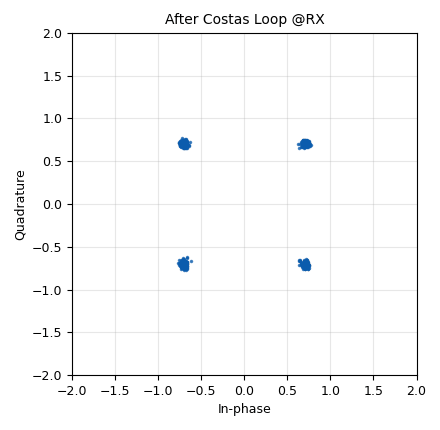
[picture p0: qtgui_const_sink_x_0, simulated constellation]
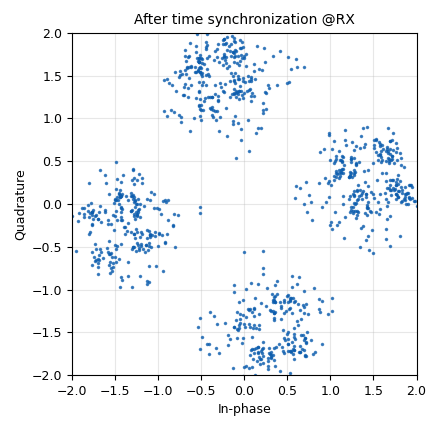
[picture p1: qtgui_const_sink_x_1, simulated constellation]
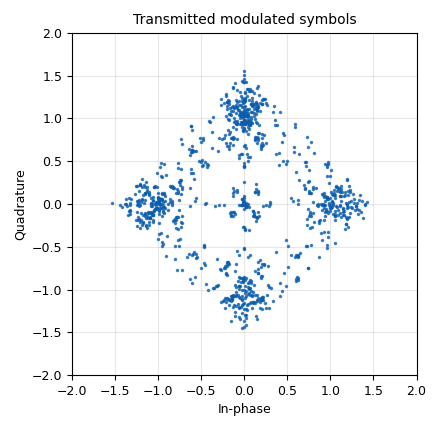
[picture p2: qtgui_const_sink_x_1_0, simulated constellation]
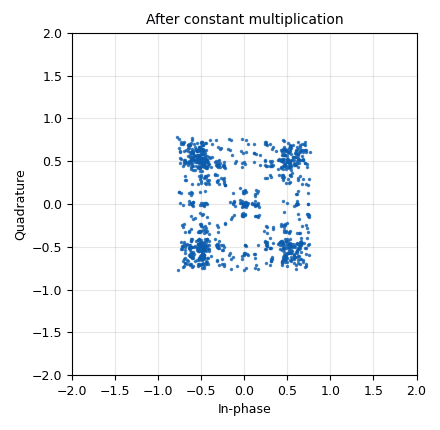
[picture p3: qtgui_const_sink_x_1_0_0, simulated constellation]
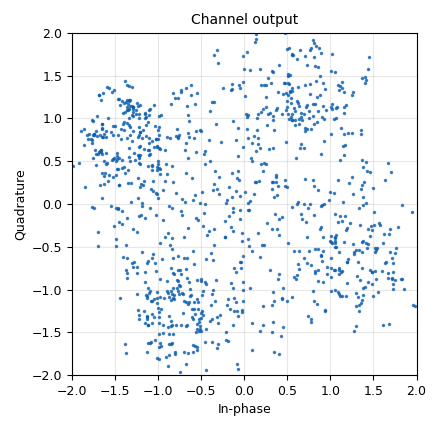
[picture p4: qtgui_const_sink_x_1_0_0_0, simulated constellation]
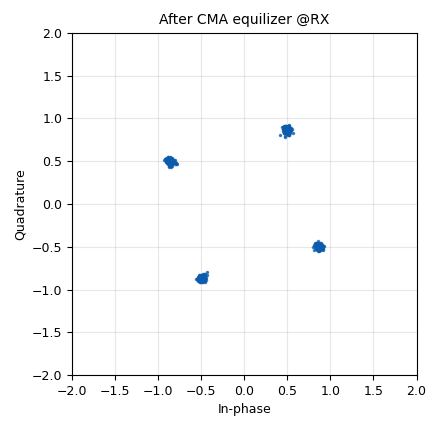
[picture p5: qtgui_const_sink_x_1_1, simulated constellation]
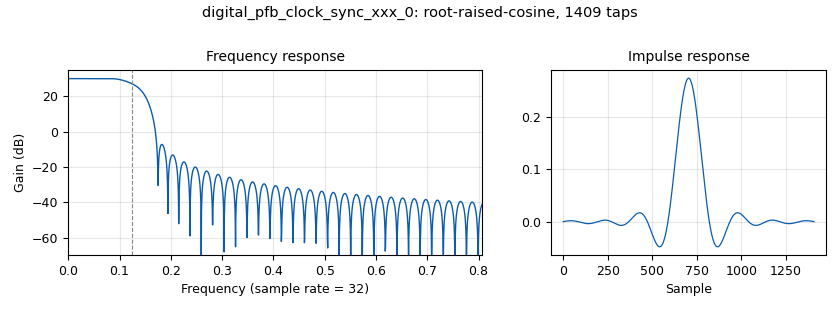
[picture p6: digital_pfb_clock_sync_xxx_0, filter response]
<?xml version='1.0' encoding='utf-8'?>
<?grc format='1' created='3.7.10'?>
<flow_graph>
<block>
<key>options</key>
<param><key>id</key><value>top_block</value></param>
<param><key>author</key><value>Alexandros-Apostolos A. Boulogeorgos</value></param>
<param><key>generate_options</key><value>qt_gui</value></param>
</block>
<block>
<key>variable</key>
<param><key>id</key><value>arity</value></param>
<param><key>value</key><value>4</value></param>
</block>
<block>
<key>variable_qtgui_range</key>
<param><key>id</key><value>eq_gain</value></param>
<param><key>value</key><value>0.01</value></param>
<param><key>gui_hint</key><value>1,0,1,1</value></param>
<param><key>label</key><value>Equalizer: rate</value></param>
<param><key>orient</key><value>Qt.Horizontal</value></param>
<param><key>start</key><value>0.0</value></param>
<param><key>step</key><value>0.001</value></param>
<param><key>stop</key><value>0.1</value></param>
<param><key>widget</key><value>slider</value></param>
</block>
<block>
<key>variable</key>
<param><key>id</key><value>model</value></param>
<param><key>value</key><value>2</value></param>
</block>
<block>
<key>variable</key>
<param><key>id</key><value>nfilts</value></param>
<param><key>value</key><value>32</value></param>
</block>
<block>
<key>variable_qtgui_range</key>
<param><key>id</key><value>noise_volt</value></param>
<param><key>value</key><value>0.0001</value></param>
<param><key>gui_hint</key><value>0,0,1,1</value></param>
<param><key>label</key><value>Channel: Noise Voltage</value></param>
<param><key>orient</key><value>Qt.Horizontal</value></param>
<param><key>start</key><value>0</value></param>
<param><key>step</key><value>0.01</value></param>
<param><key>stop</key><value>1</value></param>
<param><key>widget</key><value>slider</value></param>
</block>
<block>
<key>variable</key>
<param><key>id</key><value>number_of_samples</value></param>
<param><key>value</key><value>1000</value></param>
</block>
<block>
<key>variable</key>
<param><key>id</key><value>pdp_mags</value></param>
<param><key>value</key><value>[pdp_mags_ca0, pdp_mags_umts_ped_a, pdp_mags_umts_ped_b][model]</value></param>
</block>
<block>
<key>variable</key>
<param><key>id</key><value>pdp_mags_ca0</value></param>
<param><key>value</key><value>[0.16529889, 0.46954084, 0.58274825, 0.24561255, 0.50459457, 0.69767633, 1.0, 0.77724474, 0.48675226, 0.46954084, 0.21267289, 0.19090106, 0.31600413, 0.45293801, 0.8057353, 0.64920938, 0.50459457, 0.1978987, 0.35204369, 0.54226525, 0.31600413, 0.15945397, 0.2204686, 0.35204369, 0.37832563, 0.37832563, 0.36494815, 0.2204686, 0.17763933, 0.45293801, 0.52309091, 0.52309091, 0.46954084, 0.35204369, 0.40656966, 0.25461568, 0.23692776, 0.32758753, 0.1978987, 0.21267289, 0.2204686, 0.19090106, 0.24561255, 0.17135806, 0.21267289, 0.16529889, 0.2204686, 0.30483032, 0.33959553, 0.18415085, 0.18415085, 0.22855006, 0.2940516, 0.19090106, 0.17135806, 0.18415085, 0.1978987, 0.17763933, 0.15945397, 0.26394884, 0.24561255, 0.21267289, 0.19090106, 0.17763933, 0.2204686, 0.21267289, 0.17135806, 0.17135806, 0.16529889]</value></param>
</block>
<block>
<key>variable</key>
<param><key>id</key><value>pdp_mags_umts_ped_a</value></param>
<param><key>value</key><value>[1, 0.3790830381, 0.1466069621, 0.1022842067]</value></param>
</block>
<block>
<key>variable</key>
<param><key>id</key><value>pdp_mags_umts_ped_b</value></param>
<param><key>value</key><value>[1, 0.9139311853, 0.6126263942, 0.4493289641, 0.4584060113, 0.0916296839]</value></param>
</block>
<block>
<key>variable</key>
<param><key>id</key><value>pdp_times</value></param>
<param><key>value</key><value>[pdp_times_ca0, pdp_times_umts_ped_a, pdp_times_umts_ped_b][model]</value></param>
</block>
<block>
<key>variable</key>
<param><key>id</key><value>pdp_times_ca0</value></param>
<param><key>value</key><value>[-0.25, -0.125, 0.0, 0.125, 0.25, 0.375, 0.5, 0.625, 0.75, 0.875, 1.0, 1.125, 1.25, 1.5, 1.625, 1.75, 1.875, 2.0, 2.125, 2.25, 2.375, 2.5, 2.75, 2.875, 3.0, 3.125, 3.25, 3.375, 3.5, 3.625, 3.75, 3.875, 4.0, 4.125, 4.25, 4.375, 4.5, 4.625, 4.75, 5.125, 5.25, 5.5, 5.625, 5.75, 6.0, 6.375, 6.5, 6.625, 6.75, 6.875, 7.25, 8.0, 8.125, 8.5, 8.625, 8.75, 8.875, 9.125, 9.25, 9.375, 9.5, 9.875, 10.0, 10.75, 10.875, 11.0, 11.125, 13.125, 13.25]</value></param>
</block>
<block>
<key>variable</key>
<param><key>id</key><value>pdp_times_umts_ped_a</value></param>
<param><key>value</key><value>[0, 0.8448, 1.4592, 3.1488]</value></param>
</block>
<block>
<key>variable</key>
<param><key>id</key><value>pdp_times_umts_ped_b</value></param>
<param><key>value</key><value>[0, 1.536, 6.144, 9.216, 17.664, 28.416]</value></param>
</block>
<block>
<key>variable_qtgui_range</key>
<param><key>id</key><value>phase_bw</value></param>
<param><key>value</key><value>6.28/100.0</value></param>
<param><key>gui_hint</key><value>1,1,1,1</value></param>
<param><key>label</key><value>Phase: Bandwidth</value></param>
<param><key>orient</key><value>Qt.Horizontal</value></param>
<param><key>start</key><value>0.0</value></param>
<param><key>step</key><value>0.01</value></param>
<param><key>stop</key><value>1.0</value></param>
<param><key>widget</key><value>slider</value></param>
</block>
<block>
<key>variable</key>
<param><key>id</key><value>rrc_taps</value></param>
<param><key>value</key><value>firdes.root_raised_cosine(nfilts, nfilts, 1.0/float(sps), 0.35, 11*sps*nfilts)</value></param>
</block>
<block>
<key>variable</key>
<param><key>id</key><value>samp_rate</value></param>
<param><key>value</key><value>[samp_rate_ca0, samp_rate_umts_ped_a, samp_rate_umts_ped_b][model]</value></param>
</block>
<block>
<key>variable</key>
<param><key>id</key><value>samp_rate_ca0</value></param>
<param><key>value</key><value>4e9</value></param>
</block>
<block>
<key>variable</key>
<param><key>id</key><value>samp_rate_umts_ped_a</value></param>
<param><key>value</key><value>7.68e6</value></param>
</block>
<block>
<key>variable</key>
<param><key>id</key><value>samp_rate_umts_ped_b</value></param>
<param><key>value</key><value>7.68e6</value></param>
</block>
<block>
<key>variable</key>
<param><key>id</key><value>sps</value></param>
<param><key>value</key><value>4</value></param>
</block>
<block>
<key>variable_qtgui_range</key>
<param><key>id</key><value>timing_loop_bw</value></param>
<param><key>value</key><value>6.28/100.0</value></param>
<param><key>gui_hint</key><value>0,1,1,1</value></param>
<param><key>label</key><value>Time: BW</value></param>
<param><key>orient</key><value>Qt.Horizontal</value></param>
<param><key>start</key><value>0.0</value></param>
<param><key>step</key><value>0.01</value></param>
<param><key>stop</key><value>0.2</value></param>
<param><key>widget</key><value>slider</value></param>
</block>
<block>
<key>analog_random_source_x</key>
<param><key>id</key><value>analog_random_source_x_0</value></param>
<param><key>max</key><value>256</value></param>
<param><key>min</key><value>0</value></param>
<param><key>num_samps</key><value>number_of_samples</value></param>
<param><key>type</key><value>byte</value></param>
<param><key>repeat</key><value>True</value></param>
</block>
<block>
<key>blocks_multiply_const_vxx</key>
<param><key>id</key><value>blocks_multiply_const_vxx_0</value></param>
<param><key>const</key><value>.5+.5j</value></param>
<param><key>type</key><value>complex</value></param>
</block>
<block>
<key>blocks_throttle</key>
<param><key>id</key><value>blocks_throttle_0</value></param>
<param><key>samples_per_second</key><value>100e3</value></param>
<param><key>type</key><value>complex</value></param>
</block>
<block>
<key>virtual_sink</key>
<param><key>id</key><value>channel_output</value></param>
<param><key>stream_id</key><value>ch</value></param>
</block>
<block>
<key>channels_dynamic_channel_model</key>
<param><key>id</key><value>channels_dynamic_channel_model_0</value></param>
<param><key>cfo_stdev</key><value>0.01</value></param>
<param><key>LOS</key><value>False</value></param>
<param><key>cfo_maxdev</key><value>1e3</value></param>
<param><key>fD</key><value>2.0</value></param>
<param><key>sro_maxdev</key><value>1e3</value></param>
<param><key>N</key><value>8</value></param>
<param><key>ntaps</key><value>8</value></param>
<param><key>delays</key><value>pdp_times</value></param>
<param><key>mags</key><value>pdp_mags</value></param>
<param><key>sro_stdev</key><value>0.01</value></param>
<param><key>samp_rate</key><value>samp_rate</value></param>
<param><key>seed</key><value>0</value></param>
<param><key>noise_amp</key><value>noise_volt</value></param>
</block>
<block>
<key>digital_cma_equalizer_cc</key>
<param><key>id</key><value>digital_cma_equalizer_cc_0</value></param>
<param><key>mu</key><value>eq_gain</value></param>
<param><key>modulus</key><value>1</value></param>
<param><key>num_taps</key><value>15</value></param>
<param><key>sps</key><value>2</value></param>
</block>
<block>
<key>digital_costas_loop_cc</key>
<param><key>id</key><value>digital_costas_loop_cc_0</value></param>
<param><key>w</key><value>phase_bw</value></param>
<param><key>order</key><value>arity</value></param>
</block>
<block>
<key>digital_pfb_clock_sync_xxx</key>
<param><key>id</key><value>digital_pfb_clock_sync_xxx_0</value></param>
<param><key>filter_size</key><value>nfilts</value></param>
<param><key>init_phase</key><value>nfilts/2</value></param>
<param><key>loop_bw</key><value>timing_loop_bw</value></param>
<param><key>max_dev</key><value>1.5</value></param>
<param><key>osps</key><value>2</value></param>
<param><key>sps</key><value>sps</value></param>
<param><key>taps</key><value>rrc_taps</value></param>
<param><key>type</key><value>ccf</value></param>
</block>
<block>
<key>digital_psk_mod</key>
<param><key>id</key><value>digital_psk_mod_0</value></param>
<param><key>differential</key><value>True</value></param>
<param><key>excess_bw</key><value>0.35</value></param>
<param><key>mod_code</key><value>"gray"</value></param>
<param><key>constellation_points</key><value>arity</value></param>
<param><key>samples_per_symbol</key><value>sps</value></param>
</block>
<block>
<key>qtgui_const_sink_x</key>
<param><key>id</key><value>qtgui_const_sink_x_0</value></param>
<param><key>gui_hint</key><value>3,2,1,1</value></param>
<param><key>name</key><value>After Costas Loop @RX</value></param>
<param><key>size</key><value>1024</value></param>
<param><key>type</key><value>complex</value></param>
</block>
<block>
<key>qtgui_const_sink_x</key>
<param><key>id</key><value>qtgui_const_sink_x_1</value></param>
<param><key>gui_hint</key><value>3,0,1,1</value></param>
<param><key>name</key><value>After time synchronization @RX</value></param>
<param><key>size</key><value>1024</value></param>
<param><key>type</key><value>complex</value></param>
</block>
<block>
<key>qtgui_const_sink_x</key>
<param><key>id</key><value>qtgui_const_sink_x_1_0</value></param>
<param><key>gui_hint</key><value>2,0,1,1</value></param>
<param><key>name</key><value>Transmitted modulated symbols</value></param>
<param><key>size</key><value>1024</value></param>
<param><key>type</key><value>complex</value></param>
</block>
<block>
<key>qtgui_const_sink_x</key>
<param><key>id</key><value>qtgui_const_sink_x_1_0_0</value></param>
<param><key>gui_hint</key><value>2,1,1,1</value></param>
<param><key>name</key><value>After constant multiplication</value></param>
<param><key>size</key><value>1024</value></param>
<param><key>type</key><value>complex</value></param>
</block>
<block>
<key>qtgui_const_sink_x</key>
<param><key>id</key><value>qtgui_const_sink_x_1_0_0_0</value></param>
<param><key>gui_hint</key><value>2,2,1,1</value></param>
<param><key>name</key><value>Channel output</value></param>
<param><key>size</key><value>1024</value></param>
<param><key>type</key><value>complex</value></param>
</block>
<block>
<key>qtgui_const_sink_x</key>
<param><key>id</key><value>qtgui_const_sink_x_1_1</value></param>
<param><key>gui_hint</key><value>3,1,1,1</value></param>
<param><key>name</key><value>After CMA equilizer @RX</value></param>
<param><key>size</key><value>1024</value></param>
<param><key>type</key><value>complex</value></param>
</block>
<block>
<key>virtual_source</key>
<param><key>id</key><value>virtual_source_0</value></param>
<param><key>stream_id</key><value>ch</value></param>
</block>
<connection><source_block_id>analog_random_source_x_0</source_block_id><sink_block_id>digital_psk_mod_0</sink_block_id><source_key>0</source_key><sink_key>0</sink_key></connection>
<connection><source_block_id>blocks_multiply_const_vxx_0</source_block_id><sink_block_id>blocks_throttle_0</sink_block_id><source_key>0</source_key><sink_key>0</sink_key></connection>
<connection><source_block_id>blocks_multiply_const_vxx_0</source_block_id><sink_block_id>qtgui_const_sink_x_1_0_0</sink_block_id><source_key>0</source_key><sink_key>0</sink_key></connection>
<connection><source_block_id>blocks_throttle_0</source_block_id><sink_block_id>channels_dynamic_channel_model_0</sink_block_id><source_key>0</source_key><sink_key>0</sink_key></connection>
<connection><source_block_id>channels_dynamic_channel_model_0</source_block_id><sink_block_id>channel_output</sink_block_id><source_key>0</source_key><sink_key>0</sink_key></connection>
<connection><source_block_id>channels_dynamic_channel_model_0</source_block_id><sink_block_id>qtgui_const_sink_x_1_0_0_0</sink_block_id><source_key>0</source_key><sink_key>0</sink_key></connection>
<connection><source_block_id>digital_cma_equalizer_cc_0</source_block_id><sink_block_id>digital_costas_loop_cc_0</sink_block_id><source_key>0</source_key><sink_key>0</sink_key></connection>
<connection><source_block_id>digital_cma_equalizer_cc_0</source_block_id><sink_block_id>qtgui_const_sink_x_1_1</sink_block_id><source_key>0</source_key><sink_key>0</sink_key></connection>
<connection><source_block_id>digital_costas_loop_cc_0</source_block_id><sink_block_id>qtgui_const_sink_x_0</sink_block_id><source_key>0</source_key><sink_key>0</sink_key></connection>
<connection><source_block_id>digital_pfb_clock_sync_xxx_0</source_block_id><sink_block_id>digital_cma_equalizer_cc_0</sink_block_id><source_key>0</source_key><sink_key>0</sink_key></connection>
<connection><source_block_id>digital_pfb_clock_sync_xxx_0</source_block_id><sink_block_id>qtgui_const_sink_x_1</sink_block_id><source_key>0</source_key><sink_key>0</sink_key></connection>
<connection><source_block_id>digital_psk_mod_0</source_block_id><sink_block_id>blocks_multiply_const_vxx_0</sink_block_id><source_key>0</source_key><sink_key>0</sink_key></connection>
<connection><source_block_id>digital_psk_mod_0</source_block_id><sink_block_id>qtgui_const_sink_x_1_0</sink_block_id><source_key>0</source_key><sink_key>0</sink_key></connection>
<connection><source_block_id>virtual_source_0</source_block_id><sink_block_id>digital_pfb_clock_sync_xxx_0</sink_block_id><source_key>0</source_key><sink_key>0</sink_key></connection>
</flow_graph>
